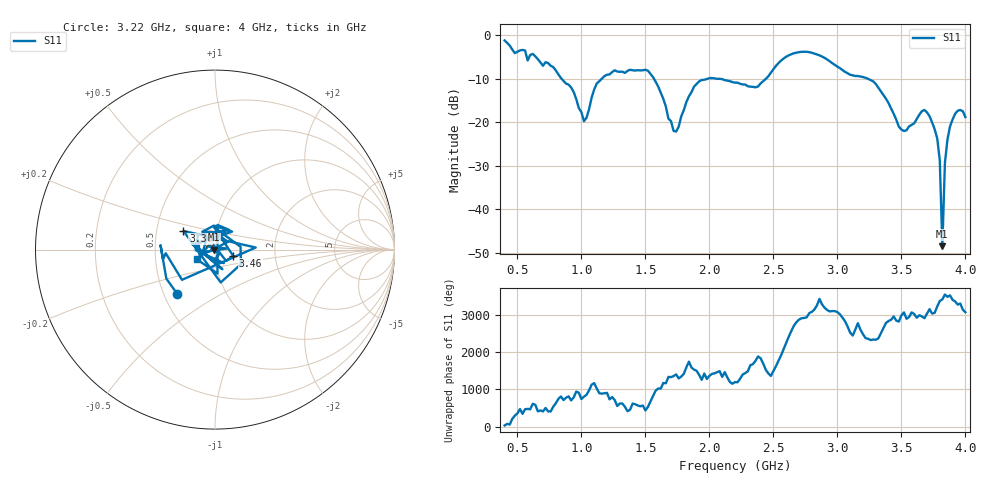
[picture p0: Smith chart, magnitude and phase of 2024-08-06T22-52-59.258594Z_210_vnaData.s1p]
!Created with skrf (http://scikit-rf.org).
# Hz S RI R 50.0
!freq ReS11 ImS11
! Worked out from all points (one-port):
!   181 points, 400 MHz to 4 GHz, reference 50 ohm
!   lowest |S11| = -48.5 dB at 3.82 GHz (marker M1), VSWR 1.01, Z = 49.6 - j0.0936 ohm
!   |S11| at or under -10 dB: 1.567 GHz to 1.986 GHz (419.3 MHz wide, 23.6 % of centre); 2.056 GHz to 2.442 GHz (385.6 MHz wide, 17.1 % of centre); 3.239 GHz to end of sweep (the widest 3 of 4)
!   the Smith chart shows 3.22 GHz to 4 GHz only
!   S11 on the Smith chart (normalised r, x): 3.22 GHz: 0.59, -0.32; 3.36 GHz: 0.69, +0.15; 3.46 GHz: 1.22, -0.09; 4 GHz: 0.81, -0.09
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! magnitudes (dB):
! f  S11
! 400 MHz  -1.2
! 860 MHz  -10.5
! 940 MHz  -13.1
! 1.02 GHz  -19.8
! 1.12 GHz  -11.1
! 1.3 GHz  -8.4
! 1.52 GHz  -8.2
! 1.6 GHz  -11.8
! 1.72 GHz  -22.0
! 1.76 GHz  -21.0
! 1.84 GHz  -14.0
! 1.92 GHz  -10.6
! 2.2 GHz  -10.9
! 2.38 GHz  -11.8
! 2.66 GHz  -4.1
! 3.1 GHz  -9.1
! 3.22 GHz  -9.8
! 3.36 GHz  -13.8
! 3.46 GHz  -19.4
! 3.56 GHz  -21.0
! 3.68 GHz  -17.2
! 3.78 GHz  -23.7
! 3.8 GHz  -28.8
! 3.82 GHz  -48.5
! 3.84 GHz  -29.3
! 3.86 GHz  -23.9
! 3.92 GHz  -18.0
! 4 GHz  -18.8
